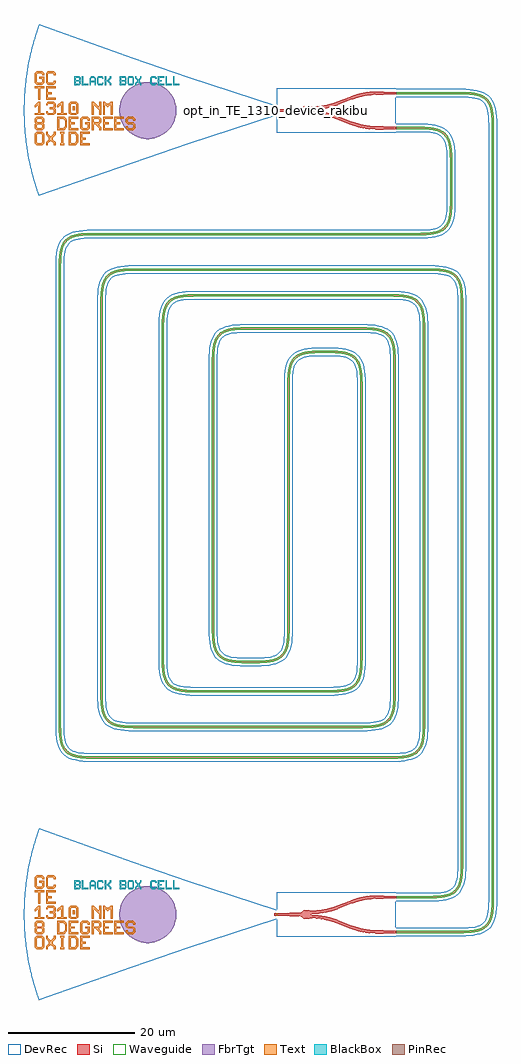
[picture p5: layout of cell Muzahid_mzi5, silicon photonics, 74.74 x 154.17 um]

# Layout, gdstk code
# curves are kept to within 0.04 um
import gdstk
lib = gdstk.Library(unit=1e-6, precision=1e-09)
def R(c, l, rs):  # rectangles x0, y0, x1, y1
    for r in rs: c.add(gdstk.rectangle(r[:2], r[2:], *l))
def P(c, l, *ps):  # polygons
    for p in ps: c.add(gdstk.Polygon(p, *l))
Si = (1, 0)
PinRec = (1, 10)
Waveguide = (1, 99)
Text = (10, 0)
DevRec = (68, 0)
FbrTgt = (81, 0)
BlackBox = (998, 0)

waveguide = lib.new_cell('Waveguide')
P(waveguide, Si, [(58.769,10.575),(58.769,10.925),(69.496,10.93),(70.634,10.997),(71.565,11.157),(72.076,11.32),(72.506,11.534),(72.863,11.799),(73.157,12.123),(73.448,12.626),(73.624,13.117),(73.838,14.358),(73.891,15.75),(73.891,138.25),(73.819,139.818),(73.693,140.608),(73.541,141.14),(73.341,141.59),(73.089,141.965),(72.78,142.274),(72.405,142.526),(71.955,142.726),(71.423,142.878),(70.458,143.022),(69.495,143.071),(58.769,143.075),(58.769,143.425),(69.287,143.424),(70.49,143.37),(71.499,143.22),(72.205,143.005),(72.901,142.623),(73.359,142.187),(73.709,141.64),(73.999,140.835),(74.147,140.032),(74.231,138.896),(74.241,15.75),(74.186,14.326),(74.068,13.473),(73.918,12.88),(73.71,12.361),(73.439,11.915),(73.099,11.539),(72.688,11.234),(72.206,10.996),(71.651,10.817),(70.672,10.649),(69.502,10.58)])
P(waveguide, Waveguide, [(58.769,10.575),(58.769,10.925),(69.496,10.93),(70.634,10.997),(71.565,11.157),(72.076,11.32),(72.506,11.534),(72.863,11.799),(73.157,12.123),(73.448,12.626),(73.624,13.117),(73.838,14.358),(73.891,15.75),(73.891,138.25),(73.819,139.818),(73.693,140.608),(73.541,141.14),(73.341,141.59),(73.089,141.965),(72.78,142.274),(72.405,142.526),(71.955,142.726),(71.423,142.878),(70.458,143.022),(69.495,143.071),(58.769,143.075),(58.769,143.425),(69.287,143.424),(70.49,143.37),(71.499,143.22),(72.205,143.005),(72.901,142.623),(73.359,142.187),(73.709,141.64),(73.999,140.835),(74.147,140.032),(74.231,138.896),(74.241,15.75),(74.186,14.326),(74.068,13.473),(73.918,12.88),(73.71,12.361),(73.439,11.915),(73.099,11.539),(72.688,11.234),(72.206,10.996),(71.651,10.817),(70.672,10.649),(69.502,10.58)])
P(waveguide, DevRec, [(58.769,10.075),(58.769,11.425),(69.718,11.436),(70.822,11.524),(71.665,11.705),(72.264,11.972),(72.491,12.136),(72.845,12.553),(73.112,13.152),(73.214,13.542),(73.349,14.514),(73.391,15.75),(73.391,138.25),(73.292,140.006),(73.111,140.849),(72.988,141.177),(72.68,141.675),(72.49,141.865),(71.992,142.173),(71.274,142.398),(70.302,142.533),(69.065,142.575),(58.769,142.575),(58.769,143.925),(69.067,143.925),(70.41,143.879),(71.56,143.718),(72.544,143.405),(73.366,142.891),(73.706,142.551),(73.99,142.162),(74.399,141.255),(74.63,140.192),(74.73,138.95),(74.741,15.75),(74.695,14.406),(74.534,13.256),(74.4,12.746),(73.991,11.839),(73.367,11.11),(72.978,10.826),(72.071,10.417),(71.008,10.186),(69.766,10.086)])
waveguide.add(gdstk.FlexPath([(58.779,143.25),(58.759,143.25)], 0.35, ends="flush", simple_path=True, layer=1, datatype=10))  # PinRec
waveguide.add(gdstk.FlexPath([(58.779,10.75),(58.759,10.75)], 0.35, ends="flush", simple_path=True, layer=1, datatype=10))  # PinRec
waveguide.add(gdstk.Label('opt1', (58.769,143.25), layer=1, texttype=10))
waveguide.add(gdstk.Label('opt2', (58.769,10.75), layer=1, texttype=10))
waveguide.add(gdstk.Label('Lumerical_INTERCONNECT_library=Design kits/EBeam', (58.769,143.18), layer=68, texttype=0))
waveguide.add(gdstk.Label('Component=ebeam_wg_integral_1310', (58.769,143.32), layer=68, texttype=0))
waveguide.add(gdstk.Label('cellName=Waveguide', (58.769,143.39), layer=68, texttype=0))
waveguide.add(gdstk.Label('Spice_param:wg_length=0.000160001 wg_width=3.5e-07 points="[[58.769,143.25],[74.066,143.25],[74.066,10.75],[58.769,10.75]]" radius=5e-06', (58.769,143.25), layer=68, texttype=0))
waveguide.add(gdstk.Label('Length=160.001 (microns)', (58.769,142.83), layer=68, texttype=0))
waveguide.add(gdstk.Label('waveguide_type=Strip TE 1310 nm, w=350 nm', (58.769,143.11), layer=68, texttype=0))

text = lib.new_cell('TEXT')
P(text, BlackBox, [(0,0),(0,1.4),(0.8,1.4),(1,1.2),(0.2,1.2),(0.2,0.8),(0.7,0.8),(0.8,0.9),(0.8,1.1),(0.7,1.2),(1,1.2),(1,0.8),(0.9,0.7),(1,0.6),(0.2,0.6),(0.2,0.2),(0.7,0.2),(0.8,0.3),(0.8,0.5),(0.7,0.6),(1,0.6),(1,0.2),(0.8,0)],
  [(1.2,0),(1.2,1.4),(1.4,1.4),(1.4,0.2),(2.2,0.2),(2.2,0)],
  [(2.4,0),(2.4,1.1),(2.7,1.4),(3.1,1.4),(3.3,1.2),(2.8,1.2),(2.6,1),(2.6,0.7),(3.2,0.7),(3.2,1),(3,1.2),(3.3,1.2),(3.4,1.1),(3.4,0),(3.2,0),(3.2,0.5),(2.6,0.5),(2.6,0)],
  [(3.8,0),(3.6,0.2),(3.6,1.2),(3.8,1.4),(4.4,1.4),(4.6,1.2),(4.6,1),(4.4,1),(4.4,1.1),(4.3,1.2),(3.9,1.2),(3.8,1.1),(3.8,0.3),(3.9,0.2),(4.3,0.2),(4.4,0.3),(4.4,0.4),(4.6,0.4),(4.6,0.2),(4.4,0)],
  [(4.8,0),(4.8,1.4),(5,1.4),(5,0.8),(5.2,0.8),(5.6,1.2),(5.6,1.4),(5.8,1.4),(5.8,1.1),(5.4,0.7),(5.8,0.3),(5.8,0),(5.6,0),(5.6,0.2),(5.2,0.6),(5,0.6),(5,0)],
  [(7.2,0),(7.2,1.4),(8,1.4),(8.2,1.2),(7.4,1.2),(7.4,0.8),(7.9,0.8),(8,0.9),(8,1.1),(7.9,1.2),(8.2,1.2),(8.2,0.8),(8.1,0.7),(8.2,0.6),(7.4,0.6),(7.4,0.2),(7.9,0.2),(8,0.3),(8,0.5),(7.9,0.6),(8.2,0.6),(8.2,0.2),(8,0)],
  [(8.6,0),(8.4,0.2),(8.4,1.2),(8.6,1.4),(9.2,1.4),(9.4,1.2),(9.4,0.7),(9.2,0.7),(9.2,1.1),(9.1,1.2),(8.7,1.2),(8.6,1.1),(8.6,0.3),(8.7,0.2),(9.1,0.2),(9.2,0.3),(9.2,0.7),(9.4,0.7),(9.4,0.2),(9.2,0)],
  [(9.6,0),(9.6,0.3),(9.9,0.6),(9.9,0.8),(9.6,1.1),(9.6,1.4),(9.8,1.4),(9.8,1.2),(10.1,0.9),(10.4,1.2),(10.4,1.4),(10.6,1.4),(10.6,1.1),(10.3,0.8),(10.3,0.6),(10.6,0.3),(10.6,0),(10.4,0),(10.4,0.2),(10.1,0.5),(9.8,0.2),(9.8,0)],
  [(12.2,0),(12,0.2),(12,1.2),(12.2,1.4),(12.8,1.4),(13,1.2),(13,1),(12.8,1),(12.8,1.1),(12.7,1.2),(12.3,1.2),(12.2,1.1),(12.2,0.3),(12.3,0.2),(12.7,0.2),(12.8,0.3),(12.8,0.4),(13,0.4),(13,0.2),(12.8,0)],
  [(13.2,0),(13.2,1.4),(14.2,1.4),(14.2,1.2),(13.4,1.2),(13.4,0.8),(13.8,0.8),(13.8,0.6),(13.4,0.6),(13.4,0.2),(14.2,0.2),(14.2,0)],
  [(14.4,0),(14.4,1.4),(14.6,1.4),(14.6,0.2),(15.4,0.2),(15.4,0)],
  [(15.6,0),(15.6,1.4),(15.8,1.4),(15.8,0.2),(16.6,0.2),(16.6,0)])

gc_te_1310_8degoxide_bb = lib.new_cell('GC_TE_1310_8degOxide_BB')
R(gc_te_1310_8degoxide_bb, Si, [(-0.4,-0.175,0,0.175)])
R(gc_te_1310_8degoxide_bb, Text, [(-32.27,0.06,-31.97,0.66)])
P(gc_te_1310_8degoxide_bb, Text, [(-37.67,1.71),(-37.67,3.51),(-38.27,3.51),(-38.27,3.81),(-36.77,3.81),(-36.77,3.51),(-37.37,3.51),(-37.37,1.71)],
  [(-37.97,-5.49),(-38.27,-5.19),(-38.27,-3.69),(-37.97,-3.39),(-37.07,-3.39),(-36.77,-3.69),(-36.77,-4.44),(-37.07,-4.44),(-37.07,-3.84),(-37.22,-3.69),(-37.82,-3.69),(-37.97,-3.84),(-37.97,-5.04),(-37.82,-5.19),(-37.22,-5.19),(-37.07,-5.04),(-37.07,-4.44),(-36.77,-4.44),(-36.77,-5.19),(-37.07,-5.49)],
  [(-31.07,-5.49),(-31.07,-3.39),(-29.57,-3.39),(-29.57,-3.69),(-30.77,-3.69),(-30.77,-4.29),(-30.17,-4.29),(-30.17,-4.59),(-30.77,-4.59),(-30.77,-5.19),(-29.57,-5.19),(-29.57,-5.49)],
  [(-32.87,-3.09),(-32.87,-0.99),(-31.37,-0.99),(-31.37,-1.29),(-32.57,-1.29),(-32.57,-1.89),(-31.97,-1.89),(-31.97,-2.19),(-32.57,-2.19),(-32.57,-2.79),(-31.37,-2.79),(-31.37,-3.09)],
  [(-27.47,-3.09),(-27.47,-0.99),(-25.97,-0.99),(-25.97,-1.29),(-27.17,-1.29),(-27.17,-1.89),(-26.57,-1.89),(-26.57,-2.19),(-27.17,-2.19),(-27.17,-2.79),(-25.97,-2.79),(-25.97,-3.09)],
  [(-25.67,-3.09),(-25.67,-0.99),(-24.17,-0.99),(-24.17,-1.29),(-25.37,-1.29),(-25.37,-1.89),(-24.77,-1.89),(-24.77,-2.19),(-25.37,-2.19),(-25.37,-2.79),(-24.17,-2.79),(-24.17,-3.09)],
  [(-36.47,1.71),(-36.47,3.81),(-34.97,3.81),(-34.97,3.51),(-36.17,3.51),(-36.17,2.91),(-35.57,2.91),(-35.57,2.61),(-36.17,2.61),(-36.17,2.01),(-34.97,2.01),(-34.97,1.71)],
  [(-27.47,-0.69),(-27.47,1.41),(-27.17,1.41),(-26.87,1.11),(-26.57,1.11),(-26.27,1.41),(-25.97,1.41),(-25.97,-0.69),(-26.27,-0.69),(-26.27,0.81),(-26.42,0.81),(-26.72,0.51),(-27.02,0.81),(-27.17,0.81),(-27.17,-0.69)],
  [(-29.27,-0.69),(-29.27,1.41),(-28.97,1.41),(-28.22,0.66),(-28.07,0.66),(-28.07,1.41),(-27.77,1.41),(-27.77,-0.69),(-28.07,-0.69),(-28.07,0.06),(-28.82,0.81),(-28.97,0.81),(-28.97,-0.69)],
  [(-34.22,-5.49),(-34.22,-5.19),(-34.07,-5.19),(-34.07,-3.69),(-34.22,-3.69),(-34.22,-3.39),(-33.62,-3.39),(-33.62,-3.69),(-33.77,-3.69),(-33.77,-5.19),(-33.62,-5.19),(-33.62,-5.49)],
  [(-36.17,-0.69),(-36.47,-0.39),(-36.47,-0.09),(-36.17,-0.09),(-36.17,-0.24),(-36.02,-0.39),(-35.42,-0.39),(-35.27,-0.24),(-35.27,0.06),(-35.42,0.21),(-35.87,0.21),(-35.87,0.51),(-35.42,0.51),(-35.27,0.66),(-35.27,0.96),(-35.42,1.11),(-36.02,1.11),(-36.17,0.96),(-36.17,0.81),(-36.47,0.81),(-36.47,1.11),(-36.17,1.41),(-35.27,1.41),(-34.97,1.11),(-34.97,0.51),(-35.12,0.36),(-34.97,0.21),(-34.97,-0.39),(-35.27,-0.69)],
  [(-29.27,-3.09),(-29.27,-0.99),(-28.07,-0.99),(-27.77,-1.29),(-28.97,-1.29),(-28.97,-1.89),(-28.22,-1.89),(-28.07,-1.74),(-28.07,-1.44),(-28.22,-1.29),(-27.77,-1.29),(-27.77,-1.89),(-28.07,-2.19),(-28.07,-2.34),(-27.77,-2.64),(-27.77,-3.09),(-28.07,-3.09),(-28.07,-2.79),(-28.67,-2.19),(-28.97,-2.19),(-28.97,-3.09)],
  [(-30.77,-3.09),(-31.07,-2.79),(-31.07,-1.29),(-30.77,-0.99),(-29.87,-0.99),(-29.57,-1.29),(-29.57,-1.59),(-29.87,-1.59),(-29.87,-1.44),(-30.02,-1.29),(-30.62,-1.29),(-30.77,-1.44),(-30.77,-2.64),(-30.62,-2.79),(-30.02,-2.79),(-29.87,-2.64),(-29.87,-2.19),(-30.32,-2.19),(-30.32,-1.89),(-29.57,-1.89),(-29.57,-2.79),(-29.87,-3.09)],
  [(-37.97,4.11),(-38.27,4.41),(-38.27,5.91),(-37.97,6.21),(-37.07,6.21),(-36.77,5.91),(-36.77,5.61),(-37.07,5.61),(-37.07,5.76),(-37.22,5.91),(-37.82,5.91),(-37.97,5.76),(-37.97,4.56),(-37.82,4.41),(-37.22,4.41),(-37.07,4.56),(-37.07,5.01),(-37.52,5.01),(-37.52,5.31),(-36.77,5.31),(-36.77,4.41),(-37.07,4.11)],
  [(-32.57,-0.69),(-32.87,-0.39),(-32.87,1.11),(-32.57,1.41),(-31.67,1.41),(-31.37,1.11),(-32.42,1.11),(-32.57,0.96),(-32.57,-0.24),(-32.42,-0.39),(-31.82,-0.39),(-31.67,-0.24),(-31.67,0.96),(-31.82,1.11),(-31.37,1.11),(-31.37,-0.39),(-31.67,-0.69)],
  [(-32.87,-5.49),(-32.87,-3.39),(-31.82,-3.39),(-31.52,-3.69),(-32.57,-3.69),(-32.57,-5.19),(-31.97,-5.19),(-31.67,-4.89),(-31.67,-3.99),(-31.97,-3.69),(-31.52,-3.69),(-31.37,-3.84),(-31.37,-5.04),(-31.82,-5.49)],
  [(-34.67,-3.09),(-34.67,-0.99),(-33.62,-0.99),(-33.32,-1.29),(-34.37,-1.29),(-34.37,-2.79),(-33.77,-2.79),(-33.47,-2.49),(-33.47,-1.59),(-33.77,-1.29),(-33.32,-1.29),(-33.17,-1.44),(-33.17,-2.64),(-33.62,-3.09)],
  [(-23.57,-3.09),(-23.87,-2.79),(-23.87,-2.49),(-23.57,-2.49),(-23.57,-2.64),(-23.42,-2.79),(-22.82,-2.79),(-22.67,-2.64),(-22.67,-2.34),(-22.82,-2.19),(-23.57,-2.19),(-23.87,-1.89),(-23.87,-1.29),(-23.57,-0.99),(-22.67,-0.99),(-22.37,-1.29),(-22.37,-1.59),(-22.67,-1.59),(-22.67,-1.44),(-22.82,-1.29),(-23.42,-1.29),(-23.57,-1.44),(-23.57,-1.74),(-23.42,-1.89),(-22.67,-1.89),(-22.37,-2.19),(-22.37,-2.79),(-22.67,-3.09)],
  [(-37.97,-3.09),(-38.27,-2.79),(-38.27,-2.19),(-38.12,-2.04),(-38.27,-1.89),(-38.27,-1.29),(-37.97,-0.99),(-37.07,-0.99),(-36.77,-1.29),(-37.82,-1.29),(-37.97,-1.44),(-37.97,-1.74),(-37.82,-1.89),(-37.22,-1.89),(-37.07,-1.74),(-37.07,-1.44),(-37.22,-1.29),(-36.77,-1.29),(-36.77,-1.89),(-36.92,-2.04),(-36.77,-2.19),(-37.82,-2.19),(-37.97,-2.34),(-37.97,-2.64),(-37.82,-2.79),(-37.22,-2.79),(-37.07,-2.64),(-37.07,-2.34),(-37.22,-2.19),(-36.77,-2.19),(-36.77,-2.79),(-37.07,-3.09)],
  [(-38.27,-0.69),(-38.27,-0.39),(-37.67,-0.39),(-37.67,0.81),(-37.82,0.81),(-38.12,0.51),(-38.27,0.51),(-38.27,0.81),(-37.67,1.41),(-37.37,1.41),(-37.37,-0.39),(-36.77,-0.39),(-36.77,-0.69)],
  [(-34.67,-0.69),(-34.67,-0.39),(-34.07,-0.39),(-34.07,0.81),(-34.22,0.81),(-34.52,0.51),(-34.67,0.51),(-34.67,0.81),(-34.07,1.41),(-33.77,1.41),(-33.77,-0.39),(-33.17,-0.39),(-33.17,-0.69)],
  [(-36.47,-5.49),(-36.47,-5.04),(-36.02,-4.59),(-36.02,-4.29),(-36.47,-3.84),(-36.47,-3.39),(-36.17,-3.39),(-36.17,-3.69),(-35.72,-4.14),(-35.27,-3.69),(-35.27,-3.39),(-34.97,-3.39),(-34.97,-3.84),(-35.42,-4.29),(-35.42,-4.59),(-34.97,-5.04),(-34.97,-5.49),(-35.27,-5.49),(-35.27,-5.19),(-35.72,-4.74),(-36.17,-5.19),(-36.17,-5.49)],
  [(-36.17,4.11),(-36.47,4.41),(-36.47,5.91),(-36.17,6.21),(-35.27,6.21),(-34.97,5.91),(-34.97,5.61),(-35.27,5.61),(-35.27,5.76),(-35.42,5.91),(-36.02,5.91),(-36.17,5.76),(-36.17,4.56),(-36.02,4.41),(-35.42,4.41),(-35.27,4.56),(-35.27,4.71),(-34.97,4.71),(-34.97,4.41),(-35.27,4.11)])
P(gc_te_1310_8degoxide_bb, DevRec, [(-37.607,-13.5),(-38.627,-10.245),(-39.378,-6.832),(-39.647,-5.058),(-39.835,-3.274),(-39.969,0.224),(-39.812,3.541),(-39.331,7.097),(-38.557,10.505),(-37.546,13.669),(-22.8,8.353),(-14.109,5.36),(0,0.75),(0,-0.75),(-14.109,-5.36)])
P(gc_te_1310_8degoxide_bb, FbrTgt, [(-20.621,-4.5),(-21.495,-4.37),(-22.326,-4.073),(-23.084,-3.619),(-23.738,-3.026),(-24.264,-2.316),(-24.642,-1.518),(-24.857,-0.661),(-24.9,0.221),(-24.77,1.095),(-24.473,1.926),(-24.019,2.684),(-23.426,3.338),(-22.716,3.864),(-21.918,4.242),(-21.061,4.457),(-20.179,4.5),(-19.305,4.37),(-18.474,4.073),(-17.716,3.619),(-17.062,3.026),(-16.536,2.316),(-16.158,1.518),(-15.943,0.661),(-15.9,-0.221),(-16.03,-1.095),(-16.327,-1.926),(-16.781,-2.684),(-17.374,-3.338),(-18.084,-3.864),(-18.882,-4.242),(-19.739,-4.457)])
gc_te_1310_8degoxide_bb.add(gdstk.FlexPath([(-0.01,0),(0.01,0)], 0.35, ends="flush", simple_path=True, layer=1, datatype=10))  # PinRec
gc_te_1310_8degoxide_bb.add(gdstk.Reference(text, (-32,4)))
gc_te_1310_8degoxide_bb.add(gdstk.Label('opt1', (0,0), layer=1, texttype=10))
gc_te_1310_8degoxide_bb.add(gdstk.Label('Lumerical_INTERCONNECT_library=Design kits/ebeam', (-29,-7), layer=68, texttype=0))
gc_te_1310_8degoxide_bb.add(gdstk.Label('Component=GC_TE_1310_8degOxide_BB', (-28,-5), layer=68, texttype=0))

ebeam_y_1310 = lib.new_cell('ebeam_y_1310')
R(ebeam_y_1310, Si, [(6.5,-3,7.4,-2.5), (-7.4,-0.25,-6,0.25), (6.5,2.5,7.4,3)])
P(ebeam_y_1310, Si, [(6.458,-3),(6.237,-2.997),(6.237,-2.497),(6.5,-2.5),(6.5,-3)],
  [(5.033,-2.908),(3.59,-2.634),(2.265,-2.21),(2.445,-1.744),(3.731,-2.154),(5.033,-2.404)],
  [(6.233,-2.997),(5.033,-2.908),(5.033,-2.404),(6.237,-2.497)],
  [(2.265,-2.21),(0.055,-1.356),(0.235,-0.89),(2.445,-1.744)],
  [(-0.762,-1.076),(-2.334,-0.724),(-4,-0.6),(-4,-0.1),(-2.381,-0.212),(-0.762,-0.555)],
  [(0.055,-1.356),(-0.762,-1.076),(-0.762,-0.555),(0.235,-0.89)],
  [(6.237,2.497),(6.237,2.997),(6.5,3),(6.5,2.5)],
  [(2.445,1.744),(2.267,2.211),(3.59,2.634),(5.033,2.908),(5.033,2.404),(3.731,2.154)],
  [(5.033,2.404),(5.033,2.908),(6.237,2.997),(6.237,2.497)],
  [(0.235,0.89),(0.055,1.356),(2.265,2.21),(2.445,1.744)],
  [(-4,0.1),(-4,0.6),(-2.334,0.724),(-0.762,1.076),(-0.762,0.555),(-2.381,0.212)],
  [(-0.762,0.555),(-0.762,1.076),(0.055,1.356),(0.235,0.89)],
  [(-5.122,-0.662),(-5.442,-0.374),(-5.808,-0.255),(-6,-0.25),(-6,0.25),(-5.817,0.253),(-5.442,0.374),(-5.122,0.662)],
  [(-4.957,-0.703),(-5.122,-0.662),(-5.122,0.662),(-4.538,0.703),(-4,0.6),(-4,-0.6),(-4.509,-0.701)],
  [(-7.4,-0.25),(-9.4,-0.175),(-9.4,0.175),(-7.4,0.25)],
  [(7.4,2.5),(7.4,3),(9.4,2.925),(9.4,2.575)],
  [(7.4,-3),(7.4,-2.5),(9.4,-2.575),(9.4,-2.925)])
R(ebeam_y_1310, DevRec, [(-9.4,-3.5,9.4,3.5)])
ebeam_y_1310.add(gdstk.FlexPath([(9.35,2.75),(9.45,2.75)], 0.35, ends="flush", simple_path=True, layer=1, datatype=10))  # PinRec
ebeam_y_1310.add(gdstk.FlexPath([(9.35,-2.75),(9.45,-2.75)], 0.35, ends="flush", simple_path=True, layer=1, datatype=10))  # PinRec
ebeam_y_1310.add(gdstk.FlexPath([(-9.35,0),(-9.45,0)], 0.35, ends="flush", simple_path=True, layer=1, datatype=10))  # PinRec
ebeam_y_1310.add(gdstk.Label('Ref: Y Zhang, Opt. Express, 21/1, 2013, for 1550 nm\nWorks reasonably well at 1310 nm', (-9.25,-1), layer=10, texttype=0))
ebeam_y_1310.add(gdstk.Label('opt2', (9.4,2.75), layer=1, texttype=10))
ebeam_y_1310.add(gdstk.Label('opt3', (9.4,-2.75), layer=1, texttype=10))
ebeam_y_1310.add(gdstk.Label('opt1', (-9.4,0), layer=1, texttype=10))
ebeam_y_1310.add(gdstk.Label('Lumerical_INTERCONNECT_library=Design kits/ebeam', (-6.86,-2.19), layer=68, texttype=0))
ebeam_y_1310.add(gdstk.Label('Component=ebeam_y_1310', (-9,1.5), layer=68, texttype=0))

waveguide_8 = lib.new_cell('Waveguide$8')
P(waveguide_8, Si, [(58.769,16.075),(58.769,16.425),(65.022,16.443),(66.247,16.564),(67.079,16.775),(67.529,16.975),(67.904,17.227),(68.406,17.811),(68.747,18.617),(68.961,19.858),(69.014,21.25),(69.014,110.37),(68.974,111.582),(68.875,112.428),(68.706,113.135),(68.464,113.71),(68.212,114.085),(67.903,114.394),(67.528,114.646),(67.078,114.846),(65.926,115.104),(64.406,115.194),(16.829,115.19),(15.521,115.103),(14.494,114.887),(13.724,114.526),(13.235,114.084),(12.877,113.494),(12.631,112.727),(12.487,111.762),(12.434,110.37),(12.436,47.922),(12.488,46.747),(12.602,45.928),(12.829,45.13),(13.103,44.605),(13.632,44.049),(14.37,43.664),(15.359,43.428),(16.626,43.324),(53.539,43.315),(55.107,43.387),(56.304,43.623),(57.074,43.984),(57.415,44.264),(57.696,44.606),(57.97,45.131),(58.197,45.929),(58.325,46.929),(58.364,48.14),(58.362,101.288),(58.324,102.282),(58.225,103.128),(58.056,103.835),(57.814,104.41),(57.335,105.022),(56.663,105.452),(55.896,105.698),(54.75,105.856),(53.539,105.895),(34.879,105.895),(33.141,105.803),(31.989,105.545),(31.539,105.345),(31.164,105.093),(30.855,104.784),(30.603,104.409),(30.361,103.834),(30.192,103.127),(30.093,102.281),(30.054,101.07),(30.056,58.182),(30.168,56.499),(30.322,55.766),(30.498,55.275),(30.789,54.772),(31.165,54.376),(31.755,54.018),(32.381,53.806),(33.142,53.666),(34.047,53.592),(37.002,53.577),(38.685,53.689),(39.418,53.843),(39.909,54.019),(40.319,54.244),(40.66,54.524),(40.941,54.866),(41.215,55.391),(41.496,56.5),(41.608,58.183),(41.609,97.39),(41.649,98.628),(41.783,99.668),(42.083,100.657),(42.491,101.327),(43.054,101.837),(43.777,102.196),(44.832,102.448),(45.936,102.548),(48.745,102.56),(50.091,102.471),(50.894,102.323),(51.576,102.091),(52.145,101.762),(52.521,101.422),(52.891,100.897),(53.161,100.26),(53.34,99.507),(53.445,98.627),(53.484,97.39),(53.484,53.76),(53.428,52.335),(53.31,51.482),(53.114,50.752),(52.825,50.138),(52.52,49.727),(52.144,49.387),(51.575,49.058),(50.893,48.826),(50.09,48.678),(48.309,48.585),(26.939,48.585),(25.701,48.625),(24.661,48.759),(23.931,48.955),(23.317,49.244),(22.815,49.636),(22.422,50.139),(22.133,50.753),(21.937,51.483),(21.803,52.523),(21.764,53.76),(21.769,106.736),(21.838,107.906),(21.97,108.734),(22.238,109.567),(22.567,110.136),(23.003,110.594),(23.55,110.944),(24.355,111.234),(25.158,111.382),(26.939,111.475),(59.038,111.457),(60.142,111.357),(61.06,111.151),(61.811,110.816),(62.313,110.424),(62.706,109.921),(63.041,109.17),(63.247,108.252),(63.337,107.345),(63.346,42.451),(63.27,41.518),(63.082,40.57),(62.832,39.91),(62.4,39.267),(61.81,38.783),(61.196,38.494),(60.466,38.298),(59.426,38.164),(58.189,38.125),(9.83,38.143),(8.726,38.243),(7.808,38.449),(7.057,38.784),(6.555,39.176),(6.162,39.679),(5.827,40.43),(5.621,41.348),(5.531,42.255),(5.514,116.626),(5.598,117.762),(5.786,118.71),(6.036,119.37),(6.468,120.013),(7.058,120.497),(7.672,120.786),(8.402,120.982),(9.442,121.116),(10.679,121.155),(62.483,121.155),(64.221,121.247),(65.373,121.505),(66.111,121.89),(66.64,122.446),(66.865,122.856),(67.041,123.347),(67.237,124.413),(67.307,125.763),(67.298,133.384),(67.169,134.808),(66.913,135.76),(66.639,136.285),(66.197,136.774),(65.607,137.132),(64.84,137.378),(64.05,137.504),(63.116,137.566),(58.769,137.575),(58.769,137.925),(63.128,137.916),(64.264,137.832),(65.067,137.684),(65.749,137.452),(66.318,137.123),(66.776,136.687),(67.126,136.14),(67.376,135.48),(67.54,134.703),(67.63,133.796),(67.658,132.75),(67.657,125.759),(67.541,124.028),(67.289,122.973),(66.856,122.145),(66.319,121.608),(65.491,121.175),(64.265,120.899),(62.483,120.805),(10.679,120.805),(9.468,120.766),(8.468,120.638),(7.67,120.411),(7.145,120.137),(6.656,119.695),(6.298,119.105),(6.086,118.479),(5.946,117.718),(5.864,116.614),(5.871,42.468),(5.967,41.4),(6.161,40.536),(6.403,39.961),(6.803,39.424),(7.339,39.025),(7.914,38.783),(8.778,38.589),(9.846,38.493),(58.189,38.475),(59.581,38.528),(60.546,38.672),(61.198,38.869),(61.723,39.143),(62.212,39.585),(62.57,40.175),(62.782,40.801),(62.922,41.562),(63.004,42.666),(62.987,107.325),(62.876,108.357),(62.665,109.189),(62.346,109.834),(61.986,110.251),(61.529,110.575),(60.823,110.857),(59.927,111.033),(58.823,111.115),(26.939,111.125),(25.202,111.034),(24.306,110.858),(23.706,110.63),(23.225,110.324),(22.783,109.835),(22.509,109.31),(22.282,108.512),(22.168,107.693),(22.116,106.518),(22.114,53.76),(22.153,52.549),(22.252,51.703),(22.463,50.871),(22.782,50.226),(23.142,49.809),(23.599,49.485),(24.305,49.203),(25.038,49.049),(26.106,48.953),(48.309,48.935),(50.046,49.026),(50.807,49.166),(51.433,49.378),(51.936,49.669),(52.332,50.045),(52.638,50.526),(52.866,51.126),(52.995,51.702),(53.094,52.548),(53.134,53.76),(53.134,97.39),(53.095,98.601),(52.996,99.447),(52.827,100.154),(52.585,100.729),(52.261,101.186),(51.844,101.546),(51.319,101.82),(50.667,102.017),(49.877,102.143),(48.527,102.213),(45.952,102.198),(44.727,102.077),(43.895,101.866),(43.25,101.547),(42.694,101.018),(42.354,100.4),(42.098,99.448),(41.999,98.602),(41.959,97.39),(41.958,58.179),(41.842,56.448),(41.718,55.816),(41.486,55.134),(41.157,54.565),(40.817,54.189),(40.406,53.884),(39.924,53.646),(39.369,53.467),(38.566,53.319),(36.784,53.225),(33.834,53.252),(32.927,53.342),(32.15,53.506),(31.49,53.756),(30.943,54.106),(30.507,54.564),(30.178,55.133),(29.946,55.815),(29.822,56.447),(29.706,58.178),(29.704,101.07),(29.743,102.307),(29.877,103.347),(30.073,104.077),(30.362,104.691),(30.667,105.102),(30.942,105.363),(31.371,105.651),(31.871,105.875),(33.097,106.151),(34.879,106.245),(53.539,106.245),(54.776,106.206),(55.972,106.04),(56.805,105.772),(57.16,105.587),(57.571,105.282),(58.055,104.692),(58.344,104.078),(58.54,103.348),(58.674,102.308),(58.712,101.292),(58.714,48.14),(58.675,46.903),(58.541,45.863),(58.345,45.133),(57.986,44.41),(57.751,44.108),(57.375,43.768),(56.929,43.497),(56.41,43.289),(55.145,43.039),(53.539,42.965),(16.614,42.974),(15.307,43.082),(14.252,43.334),(13.424,43.767),(13.048,44.107),(12.813,44.409),(12.505,45),(12.29,45.706),(12.14,46.715),(12.086,47.918),(12.084,110.37),(12.123,111.607),(12.289,112.803),(12.557,113.636),(12.886,114.205),(13.423,114.742),(14.251,115.175),(15.306,115.427),(16.613,115.535),(64.41,115.544),(65.97,115.452),(67.196,115.176),(67.696,114.952),(68.125,114.664),(68.482,114.307),(68.77,113.878),(69.04,113.241),(69.219,112.488),(69.324,111.608),(69.364,110.37),(69.364,21.25),(69.291,19.645),(69.041,18.38),(68.636,17.52),(68.401,17.218),(68.025,16.878),(67.197,16.445),(66.142,16.193),(65.038,16.093)])
P(waveguide_8, Waveguide, [(58.769,16.075),(58.769,16.425),(65.022,16.443),(66.247,16.564),(67.079,16.775),(67.529,16.975),(67.904,17.227),(68.406,17.811),(68.747,18.617),(68.961,19.858),(69.014,21.25),(69.014,110.37),(68.974,111.582),(68.875,112.428),(68.706,113.135),(68.464,113.71),(68.212,114.085),(67.903,114.394),(67.528,114.646),(67.078,114.846),(65.926,115.104),(64.406,115.194),(16.829,115.19),(15.521,115.103),(14.494,114.887),(13.724,114.526),(13.235,114.084),(12.877,113.494),(12.631,112.727),(12.487,111.762),(12.434,110.37),(12.436,47.922),(12.488,46.747),(12.602,45.928),(12.829,45.13),(13.103,44.605),(13.632,44.049),(14.37,43.664),(15.359,43.428),(16.626,43.324),(53.539,43.315),(55.107,43.387),(56.304,43.623),(57.074,43.984),(57.415,44.264),(57.696,44.606),(57.97,45.131),(58.197,45.929),(58.325,46.929),(58.364,48.14),(58.362,101.288),(58.324,102.282),(58.225,103.128),(58.056,103.835),(57.814,104.41),(57.335,105.022),(56.663,105.452),(55.896,105.698),(54.75,105.856),(53.539,105.895),(34.879,105.895),(33.141,105.803),(31.989,105.545),(31.539,105.345),(31.164,105.093),(30.855,104.784),(30.603,104.409),(30.361,103.834),(30.192,103.127),(30.093,102.281),(30.054,101.07),(30.056,58.182),(30.168,56.499),(30.322,55.766),(30.498,55.275),(30.789,54.772),(31.165,54.376),(31.755,54.018),(32.381,53.806),(33.142,53.666),(34.047,53.592),(37.002,53.577),(38.685,53.689),(39.418,53.843),(39.909,54.019),(40.319,54.244),(40.66,54.524),(40.941,54.866),(41.215,55.391),(41.496,56.5),(41.608,58.183),(41.609,97.39),(41.649,98.628),(41.783,99.668),(42.083,100.657),(42.491,101.327),(43.054,101.837),(43.777,102.196),(44.832,102.448),(45.936,102.548),(48.745,102.56),(50.091,102.471),(50.894,102.323),(51.576,102.091),(52.145,101.762),(52.521,101.422),(52.891,100.897),(53.161,100.26),(53.34,99.507),(53.445,98.627),(53.484,97.39),(53.484,53.76),(53.428,52.335),(53.31,51.482),(53.114,50.752),(52.825,50.138),(52.52,49.727),(52.144,49.387),(51.575,49.058),(50.893,48.826),(50.09,48.678),(48.309,48.585),(26.939,48.585),(25.701,48.625),(24.661,48.759),(23.931,48.955),(23.317,49.244),(22.815,49.636),(22.422,50.139),(22.133,50.753),(21.937,51.483),(21.803,52.523),(21.764,53.76),(21.769,106.736),(21.838,107.906),(21.97,108.734),(22.238,109.567),(22.567,110.136),(23.003,110.594),(23.55,110.944),(24.355,111.234),(25.158,111.382),(26.939,111.475),(59.038,111.457),(60.142,111.357),(61.06,111.151),(61.811,110.816),(62.313,110.424),(62.706,109.921),(63.041,109.17),(63.247,108.252),(63.337,107.345),(63.346,42.451),(63.27,41.518),(63.082,40.57),(62.832,39.91),(62.4,39.267),(61.81,38.783),(61.196,38.494),(60.466,38.298),(59.426,38.164),(58.189,38.125),(9.83,38.143),(8.726,38.243),(7.808,38.449),(7.057,38.784),(6.555,39.176),(6.162,39.679),(5.827,40.43),(5.621,41.348),(5.531,42.255),(5.514,116.626),(5.598,117.762),(5.786,118.71),(6.036,119.37),(6.468,120.013),(7.058,120.497),(7.672,120.786),(8.402,120.982),(9.442,121.116),(10.679,121.155),(62.483,121.155),(64.221,121.247),(65.373,121.505),(66.111,121.89),(66.64,122.446),(66.865,122.856),(67.041,123.347),(67.237,124.413),(67.307,125.763),(67.298,133.384),(67.169,134.808),(66.913,135.76),(66.639,136.285),(66.197,136.774),(65.607,137.132),(64.84,137.378),(64.05,137.504),(63.116,137.566),(58.769,137.575),(58.769,137.925),(63.128,137.916),(64.264,137.832),(65.067,137.684),(65.749,137.452),(66.318,137.123),(66.776,136.687),(67.126,136.14),(67.376,135.48),(67.54,134.703),(67.63,133.796),(67.658,132.75),(67.657,125.759),(67.541,124.028),(67.289,122.973),(66.856,122.145),(66.319,121.608),(65.491,121.175),(64.265,120.899),(62.483,120.805),(10.679,120.805),(9.468,120.766),(8.468,120.638),(7.67,120.411),(7.145,120.137),(6.656,119.695),(6.298,119.105),(6.086,118.479),(5.946,117.718),(5.864,116.614),(5.871,42.468),(5.967,41.4),(6.161,40.536),(6.403,39.961),(6.803,39.424),(7.339,39.025),(7.914,38.783),(8.778,38.589),(9.846,38.493),(58.189,38.475),(59.581,38.528),(60.546,38.672),(61.198,38.869),(61.723,39.143),(62.212,39.585),(62.57,40.175),(62.782,40.801),(62.922,41.562),(63.004,42.666),(62.987,107.325),(62.876,108.357),(62.665,109.189),(62.346,109.834),(61.986,110.251),(61.529,110.575),(60.823,110.857),(59.927,111.033),(58.823,111.115),(26.939,111.125),(25.202,111.034),(24.306,110.858),(23.706,110.63),(23.225,110.324),(22.783,109.835),(22.509,109.31),(22.282,108.512),(22.168,107.693),(22.116,106.518),(22.114,53.76),(22.153,52.549),(22.252,51.703),(22.463,50.871),(22.782,50.226),(23.142,49.809),(23.599,49.485),(24.305,49.203),(25.038,49.049),(26.106,48.953),(48.309,48.935),(50.046,49.026),(50.807,49.166),(51.433,49.378),(51.936,49.669),(52.332,50.045),(52.638,50.526),(52.866,51.126),(52.995,51.702),(53.094,52.548),(53.134,53.76),(53.134,97.39),(53.095,98.601),(52.996,99.447),(52.827,100.154),(52.585,100.729),(52.261,101.186),(51.844,101.546),(51.319,101.82),(50.667,102.017),(49.877,102.143),(48.527,102.213),(45.952,102.198),(44.727,102.077),(43.895,101.866),(43.25,101.547),(42.694,101.018),(42.354,100.4),(42.098,99.448),(41.999,98.602),(41.959,97.39),(41.958,58.179),(41.842,56.448),(41.718,55.816),(41.486,55.134),(41.157,54.565),(40.817,54.189),(40.406,53.884),(39.924,53.646),(39.369,53.467),(38.566,53.319),(36.784,53.225),(33.834,53.252),(32.927,53.342),(32.15,53.506),(31.49,53.756),(30.943,54.106),(30.507,54.564),(30.178,55.133),(29.946,55.815),(29.822,56.447),(29.706,58.178),(29.704,101.07),(29.743,102.307),(29.877,103.347),(30.073,104.077),(30.362,104.691),(30.667,105.102),(30.942,105.363),(31.371,105.651),(31.871,105.875),(33.097,106.151),(34.879,106.245),(53.539,106.245),(54.776,106.206),(55.972,106.04),(56.805,105.772),(57.16,105.587),(57.571,105.282),(58.055,104.692),(58.344,104.078),(58.54,103.348),(58.674,102.308),(58.712,101.292),(58.714,48.14),(58.675,46.903),(58.541,45.863),(58.345,45.133),(57.986,44.41),(57.751,44.108),(57.375,43.768),(56.929,43.497),(56.41,43.289),(55.145,43.039),(53.539,42.965),(16.614,42.974),(15.307,43.082),(14.252,43.334),(13.424,43.767),(13.048,44.107),(12.813,44.409),(12.505,45),(12.29,45.706),(12.14,46.715),(12.086,47.918),(12.084,110.37),(12.123,111.607),(12.289,112.803),(12.557,113.636),(12.886,114.205),(13.423,114.742),(14.251,115.175),(15.306,115.427),(16.613,115.535),(64.41,115.544),(65.97,115.452),(67.196,115.176),(67.696,114.952),(68.125,114.664),(68.482,114.307),(68.77,113.878),(69.04,113.241),(69.219,112.488),(69.324,111.608),(69.364,110.37),(69.364,21.25),(69.291,19.645),(69.041,18.38),(68.636,17.52),(68.401,17.218),(68.025,16.878),(67.197,16.445),(66.142,16.193),(65.038,16.093)])
P(waveguide_8, DevRec, [(58.769,15.575),(58.769,16.925),(64.841,16.936),(65.945,17.024),(67.116,17.328),(67.614,17.636),(67.804,17.826),(68.112,18.324),(68.337,19.042),(68.472,20.014),(68.514,21.25),(68.514,110.37),(68.415,112.126),(68.234,112.969),(67.967,113.568),(67.803,113.795),(67.386,114.149),(66.787,114.416),(65.425,114.653),(64.189,114.695),(16.607,114.684),(15.503,114.596),(14.66,114.415),(14.061,114.148),(13.644,113.794),(13.336,113.296),(13.111,112.578),(12.976,111.606),(12.934,110.37),(12.934,48.14),(13.033,46.384),(13.214,45.541),(13.481,44.942),(13.645,44.715),(14.062,44.361),(14.661,44.094),(15.504,43.913),(16.607,43.825),(53.539,43.815),(54.776,43.858),(56.138,44.095),(56.737,44.362),(56.964,44.526),(57.318,44.943),(57.585,45.542),(57.766,46.385),(57.864,48.14),(57.864,101.07),(57.765,102.826),(57.584,103.669),(57.317,104.268),(57.153,104.495),(56.736,104.849),(56.137,105.116),(55.294,105.297),(54.191,105.385),(34.879,105.395),(33.642,105.352),(32.28,105.115),(31.952,104.992),(31.454,104.684),(31.1,104.267),(30.833,103.668),(30.596,102.306),(30.554,101.07),(30.554,58.4),(30.597,57.163),(30.834,55.801),(30.957,55.473),(31.265,54.975),(31.682,54.621),(32.281,54.354),(33.643,54.117),(37.436,54.086),(38.54,54.174),(39.383,54.355),(39.982,54.622),(40.209,54.786),(40.563,55.203),(40.83,55.802),(41.011,56.645),(41.109,58.4),(41.109,97.39),(41.22,99.332),(41.451,100.395),(41.63,100.869),(42.144,101.691),(42.484,102.031),(42.873,102.315),(43.78,102.724),(44.29,102.858),(45.44,103.019),(48.312,103.065),(50.251,102.954),(51.314,102.723),(51.788,102.544),(52.61,102.03),(52.95,101.69),(53.464,100.868),(53.643,100.394),(53.874,99.331),(53.984,97.39),(53.984,53.76),(53.937,52.415),(53.776,51.265),(53.463,50.281),(53.233,49.848),(52.609,49.119),(51.787,48.605),(50.803,48.292),(49.653,48.131),(48.309,48.085),(26.939,48.085),(25.594,48.132),(24.444,48.293),(23.934,48.427),(23.027,48.836),(22.638,49.12),(22.298,49.46),(21.784,50.282),(21.471,51.266),(21.31,52.416),(21.264,53.76),(21.275,107),(21.375,108.242),(21.606,109.305),(22.015,110.212),(22.299,110.601),(22.639,110.941),(23.461,111.455),(23.935,111.634),(24.998,111.865),(26.939,111.975),(58.889,111.964),(60.131,111.864),(61.194,111.633),(62.101,111.224),(62.49,110.94),(62.83,110.6),(63.344,109.778),(63.657,108.794),(63.818,107.644),(63.864,106.3),(63.853,42.6),(63.753,41.358),(63.522,40.295),(63.113,39.388),(62.829,38.999),(62.489,38.659),(61.667,38.145),(60.683,37.832),(59.533,37.671),(58.189,37.625),(9.979,37.636),(8.737,37.736),(7.674,37.967),(6.767,38.376),(6.378,38.66),(6.038,39),(5.524,39.822),(5.211,40.806),(5.05,41.956),(5.004,43.3),(5.015,116.68),(5.115,117.922),(5.346,118.985),(5.755,119.892),(6.039,120.281),(6.379,120.621),(7.201,121.135),(8.185,121.448),(9.335,121.609),(10.679,121.655),(62.483,121.655),(63.72,121.698),(65.082,121.935),(65.681,122.202),(65.908,122.366),(66.262,122.783),(66.529,123.382),(66.631,123.772),(66.766,124.744),(66.797,133.402),(66.709,134.506),(66.405,135.677),(66.097,136.175),(65.68,136.529),(65.081,136.796),(64.691,136.898),(63.135,137.065),(58.769,137.075),(58.769,138.425),(63.181,138.415),(64.424,138.315),(65.487,138.084),(66.394,137.675),(66.783,137.391),(67.123,137.051),(67.637,136.229),(67.816,135.755),(68.047,134.692),(68.158,132.751),(68.158,125.979),(68.048,124.039),(67.817,122.976),(67.408,122.069),(66.784,121.34),(65.962,120.826),(65.488,120.647),(64.425,120.416),(62.483,120.305),(10.679,120.305),(9.443,120.263),(8.081,120.026),(7.482,119.759),(7.065,119.405),(6.757,118.907),(6.532,118.189),(6.365,116.632),(6.364,42.648),(6.452,41.545),(6.633,40.702),(6.9,40.103),(7.254,39.686),(7.752,39.378),(8.47,39.153),(10.027,38.986),(58.189,38.975),(59.425,39.017),(60.787,39.254),(61.386,39.521),(61.803,39.875),(62.111,40.373),(62.336,41.091),(62.503,42.648),(62.504,106.952),(62.416,108.055),(62.235,108.898),(61.968,109.497),(61.614,109.914),(61.116,110.222),(60.398,110.447),(58.841,110.614),(26.939,110.625),(25.184,110.527),(24.013,110.223),(23.515,109.915),(23.161,109.498),(22.894,108.899),(22.713,108.056),(22.614,106.3),(22.614,53.76),(22.656,52.524),(22.893,51.162),(23.16,50.563),(23.514,50.146),(24.012,49.838),(24.73,49.613),(26.287,49.446),(48.309,49.435),(50.064,49.533),(51.235,49.837),(51.733,50.145),(51.923,50.335),(52.231,50.833),(52.354,51.161),(52.591,52.523),(52.634,53.76),(52.634,97.39),(52.592,98.626),(52.355,99.988),(52.232,100.316),(51.924,100.814),(51.507,101.168),(50.908,101.435),(49.546,101.672),(46.132,101.705),(45.029,101.617),(44.186,101.436),(43.587,101.169),(43.36,101.005),(43.006,100.588),(42.739,99.989),(42.558,99.146),(42.459,97.39),(42.459,58.4),(42.349,56.459),(42.118,55.396),(41.939,54.922),(41.425,54.1),(41.085,53.76),(40.263,53.246),(39.789,53.067),(38.726,52.836),(36.787,52.725),(33.535,52.771),(32.385,52.932),(31.875,53.066),(30.968,53.475),(30.579,53.759),(30.239,54.099),(29.725,54.921),(29.546,55.395),(29.315,56.458),(29.204,58.4),(29.204,101.07),(29.25,102.414),(29.411,103.564),(29.724,104.548),(29.954,104.981),(30.578,105.71),(30.967,105.994),(31.874,106.403),(32.937,106.634),(34.879,106.745),(53.539,106.745),(54.883,106.699),(56.033,106.538),(57.017,106.225),(57.839,105.711),(58.463,104.982),(58.693,104.549),(59.006,103.565),(59.167,102.415),(59.214,101.07),(59.214,48.14),(59.168,46.796),(59.007,45.646),(58.694,44.662),(58.464,44.229),(57.84,43.5),(57.451,43.216),(56.544,42.807),(55.481,42.576),(53.539,42.465),(16.561,42.475),(14.765,42.672),(13.781,42.985),(12.959,43.499),(12.335,44.228),(12.105,44.661),(11.792,45.645),(11.631,46.795),(11.584,48.14),(11.584,110.37),(11.63,111.714),(11.791,112.864),(12.104,113.848),(12.618,114.67),(13.347,115.294),(14.254,115.703),(15.317,115.934),(16.559,116.034),(64.887,116.035),(66.683,115.838),(67.667,115.525),(68.489,115.011),(68.829,114.671),(69.343,113.849),(69.522,113.375),(69.753,112.312),(69.864,110.37),(69.864,21.25),(69.754,19.309),(69.523,18.246),(69.344,17.772),(68.83,16.95),(68.101,16.326),(67.194,15.917),(66.131,15.686),(64.889,15.586)])
waveguide_8.add(gdstk.FlexPath([(58.779,137.75),(58.759,137.75)], 0.35, ends="flush", simple_path=True, layer=1, datatype=10))  # PinRec
waveguide_8.add(gdstk.FlexPath([(58.779,16.25),(58.759,16.25)], 0.35, ends="flush", simple_path=True, layer=1, datatype=10))  # PinRec
waveguide_8.add(gdstk.Label('opt1', (58.769,137.75), layer=1, texttype=10))
waveguide_8.add(gdstk.Label('opt2', (58.769,16.25), layer=1, texttype=10))
waveguide_8.add(gdstk.Label('Lumerical_INTERCONNECT_library=Design kits/EBeam', (58.769,137.68), layer=68, texttype=0))
waveguide_8.add(gdstk.Label('Component=ebeam_wg_integral_1310', (58.769,137.82), layer=68, texttype=0))
waveguide_8.add(gdstk.Label('cellName=Waveguide', (58.769,137.89), layer=68, texttype=0))
waveguide_8.add(gdstk.Label('Length=960.001 (microns)', (58.769,137.33), layer=68, texttype=0))
waveguide_8.add(gdstk.Label('waveguide_type=Strip TE 1310 nm, w=350 nm', (58.769,137.61), layer=68, texttype=0))

muzahid_mzi5 = lib.new_cell('Muzahid_mzi5')
muzahid_mzi5.add(gdstk.Reference(waveguide, (0,0)))
muzahid_mzi5.add(gdstk.Reference(gc_te_1310_8degoxide_bb, (39.969,13.5)))
muzahid_mzi5.add(gdstk.Reference(ebeam_y_1310, (49.369,13.5)))
muzahid_mzi5.add(gdstk.Reference(ebeam_y_1310, (49.369,140.5)))
muzahid_mzi5.add(gdstk.Reference(gc_te_1310_8degoxide_bb, (39.969,140.5)))
muzahid_mzi5.add(gdstk.Reference(waveguide_8, (0,0)))
muzahid_mzi5.add(gdstk.Label('opt_in_TE_1310_device_rakibul_mzi5Muzahid', (39.969,140.5), layer=10, texttype=0))

lib.write_gds('Muzahid_mzi5.gds')
